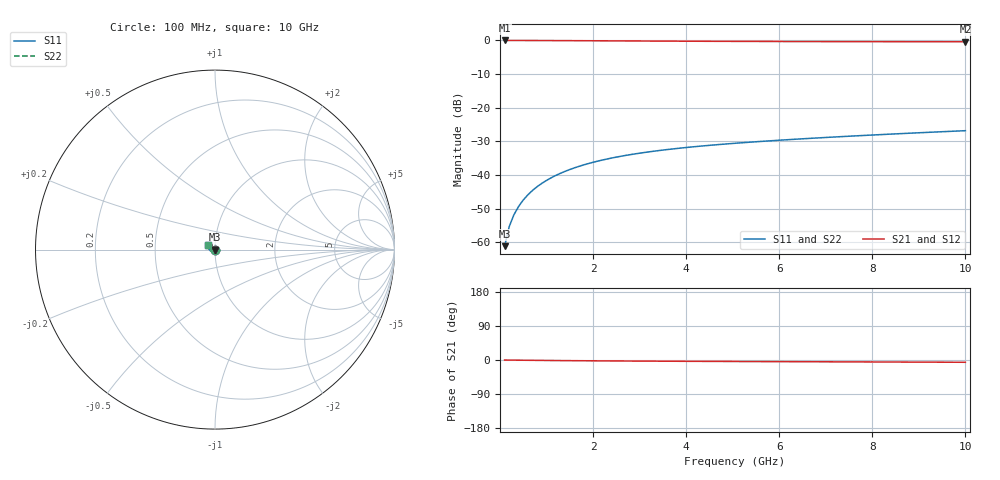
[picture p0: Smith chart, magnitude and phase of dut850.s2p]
! Touchstone file exported from HFSS 2024.1.0
!  File:  C:/UserFiles/LocalFiles/RDL_TSV_Batchsim/temp_TSV1_850_1779880945.aedt
!  Generated:  07:27:01 PM May 27, 2026
!  Design:  TSV1
!  Project:  temp_TSV1_850_1779880945
!  Setup:  Setup1
!  Solution:  Sweep
! Variables:
!  dtsv = 7.11um
!  hbump = 3um
!  htsv = 90.55um
!  lrdl = 252.1521522um
!  p = 40
!  p1 = 55.11um
!  t = 500um
!  trdl = 3um
!  wrdl = 24.89489489um
# GHz S MA R 50.000000
! Terminal data exported
! Port[1] = TSV22_T1
! Port[2] = TSV22_T2
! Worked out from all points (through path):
!   100 points, 100 MHz to 10 GHz, reference 50 ohm
!   highest |S21| = 0.00 dB at 100 MHz (marker M1); lowest = -0.4 dB at 10 GHz (marker M2)
!   lowest |S11| = -61.1 dB at 100 MHz (marker M3), VSWR 1.00, Z = 50 - j0.0861 ohm
!   |S11| at or under -10 dB: start of sweep to end of sweep
!   |S22| runs from -61.1 to -26.8 dB; largest |S21 - S12| = 8e-15
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0.1  0.0008808 -77.6  0.9996 -0.1  0.9996 -0.1  0.0008808 -77.6
! Gamma 0 0 0 0
! Port Impedance 50 0 50 0
0.2  0.001726 -87.0  0.9995 -0.2  0.9995 -0.2  0.001726 -87.0
0.3  0.002576 -91.7  0.9993 -0.4  0.9993 -0.4  0.002576 -91.7
0.4  0.003423 -95.1  0.999 -0.5  0.999 -0.5  0.003423 -95.1
0.5  0.004265 -98.0  0.9987 -0.6  0.9987 -0.6  0.004265 -98.0
0.6  0.0051 -100.7  0.9984 -0.7  0.9984 -0.7  0.0051 -100.7
0.7  0.005927 -103.2  0.998 -0.9  0.998 -0.9  0.005927 -103.2
0.8  0.006743 -105.6  0.9975 -1.0  0.9975 -1.0  0.006744 -105.6
0.9  0.007549 -108.0  0.997 -1.1  0.997 -1.1  0.007549 -108.0
1.1  0.009125 -112.5  0.9958 -1.3  0.9958 -1.3  0.009125 -112.5
1.4  0.01139 -118.9  0.9938 -1.6  0.9938 -1.6  0.01139 -118.9
1.6  0.01282 -122.9  0.9923 -1.8  0.9923 -1.8  0.01282 -122.9
1.8  0.01419 -126.9  0.9907 -2.0  0.9907 -2.0  0.01419 -126.9
2.1  0.01613 -132.5  0.9883 -2.2  0.9883 -2.2  0.01613 -132.5
2.5  0.0185 -139.6  0.985 -2.5  0.985 -2.5  0.0185 -139.6
2.9  0.02066 -146.2  0.9819 -2.8  0.9819 -2.8  0.02066 -146.2
3.4  0.02309 -153.7  0.9782 -3.1  0.9782 -3.1  0.02309 -153.7
4.2  0.02651 -164.4  0.9731 -3.5  0.9731 -3.5  0.02651 -164.4
5.1  0.02989 -174.7  0.9685 -3.9  0.9685 -3.9  0.02989 -174.7
6.7  0.03526 170.3  0.9625 -4.6  0.9625 -4.6  0.03526 170.3
8.4  0.04066 158.0  0.9584 -5.3  0.9584 -5.3  0.04066 158.0
10  0.0457 148.7  0.9556 -6.0  0.9556 -6.0  0.0457 148.7
